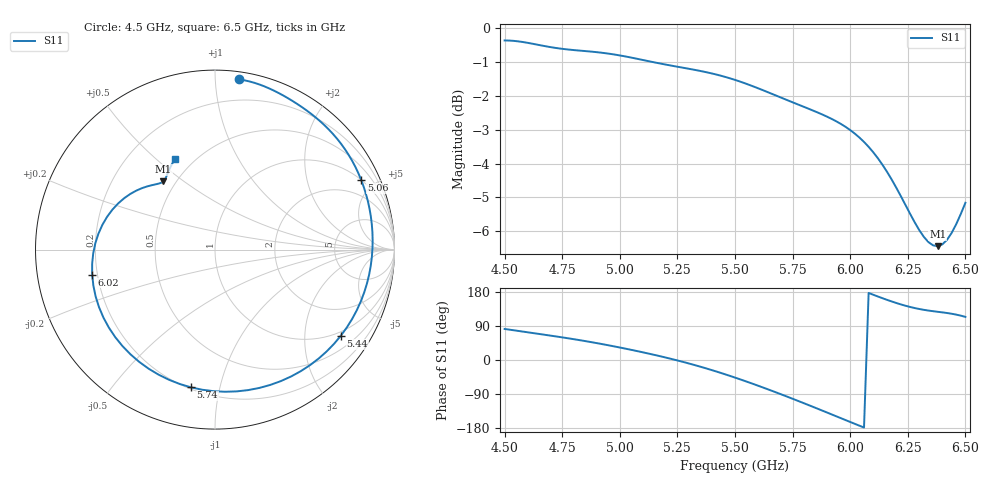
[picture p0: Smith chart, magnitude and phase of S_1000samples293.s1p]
! TOUCHSTONE file generated by CST MICROWAVE STUDIO
! Date and time: Thu Oct 27 16:07:11 2022
! Project name: L.cst
! Parameters = {Di=1.27; Epsilon_r=1.56; InnerDiameter=1.27; Length=2; Lf=10; Lg=60; OuterConductorThickness=0.2921; OuterDiameter=3.6; Wf=3; Wp=41.2; de=1.5; df=6.8; g=0.8; gx=4.15982; gy=1.53072; h=2.34; hf=1.524; px=9.6191; py=11.8995; w=9.7; wx=5.45929; wy=10.3687}
! Header version: 2018
! Port assignment regex: !\s*Touchstone port\s*([0-9]+)\s*=\s*(CST MWS port|CST DS port)\s*([0-9]+|Zmin|Zmax)\s*\(\"(.*)\"\)(\s*mode\s*([0-9]+))?.*
! Touchstone port assignment:
! Touchstone port 1 = CST MWS port 1 ("")
# GHz S DB R 50
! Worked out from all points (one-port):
!   101 points, 4.5 GHz to 6.5 GHz, reference 50 ohm
!   lowest |S11| = -6.4 dB at 6.38 GHz (marker M1), VSWR 2.82, Z = 21.4 + j21 ohm
!   |S11| at or under -10 dB: nowhere
!   S11 on the Smith chart (normalised r, x): 4.5 GHz: 0.05, +1.15; 5.06 GHz: 1.00, +4.19; 5.44 GHz: 0.87, -3.00; 5.74 GHz: 0.21, -0.82; 6.02 GHz: 0.18, -0.10; 6.5 GHz: 0.40, +0.58
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4.5  -0.38 81.9
4.62  -0.47 71.4
4.76  -0.63 58.8
4.88  -0.71 46.7
5  -0.82 33.0
5.06  -0.89 25.5
5.16  -1.03 12.1
5.26  -1.16 -2.7
5.36  -1.29 -19.5
5.44  -1.42 -34.4
5.5  -1.54 -46.4
5.56  -1.68 -59.0
5.62  -1.84 -72.2
5.68  -2.00 -85.9
5.74  -2.17 -99.9
5.76  -2.22 -104.7
5.82  -2.39 -119.1
5.9  -2.62 -138.7
5.96  -2.84 -153.6
6  -3.01 -163.5
6.02  -3.12 -168.5
6.08  -3.51 177.0
6.14  -4.04 163.1
6.2  -4.71 150.5
6.26  -5.48 140.0
6.38  -6.43 127.2
6.44  -6.05 122.1
6.5  -5.16 113.8
